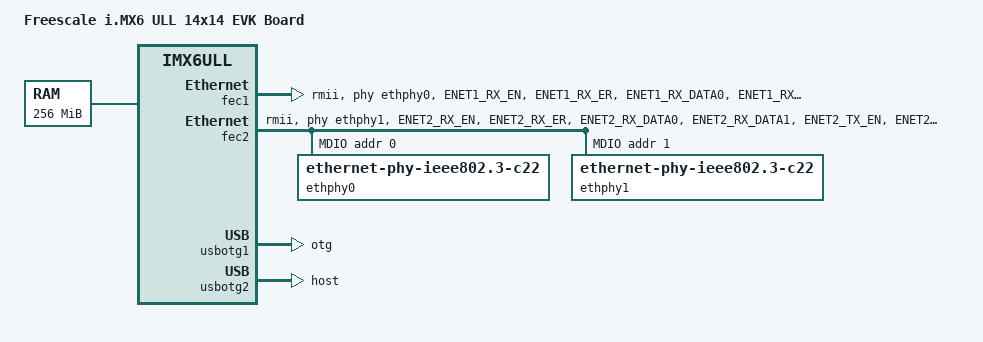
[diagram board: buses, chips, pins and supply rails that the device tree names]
// SPDX-License-Identifier: GPL-2.0
/*
 * Digi International's ConnectCore6UL SBC Pro board device tree source
 *
 * Copyright 2018 Digi International, Inc.
 *
 */

/dts-v1/;
#include <dt-bindings/input/input.h>
#include <dt-bindings/interrupt-controller/irq.h>
#include "imx6ul.dtsi"
#include "imx6ul-ccimx6ulsom.dtsi"

/ {
	model = "Freescale i.MX6 ULL 14x14 EVK Board";
	compatible = "fsl,imx6ull-14x14-evk", "fsl,imx6ull";

	chosen {
		stdout-path = &uart1;
	};

	memory {
		reg = <0x80000000 0x10000000>;
	};

	reserved-memory {
		#address-cells = <1>;
		#size-cells = <1>;
		ranges;

		linux,cma {
			compatible = "shared-dma-pool";
			reusable;
			size = <0x14000000>;
			linux,cma-default;
		};
	};

};

&fec1 {
	pinctrl-names = "default";
	pinctrl-0 = <&pinctrl_enet1>;
	phy-mode = "rmii";
	phy-handle = <&ethphy0>;
    phy-reset-gpios = <&gpio5 9 GPIO_ACTIVE_LOW>;
	phy-reset-duration = <100>;
	status = "okay";
};

&fec2 {
	pinctrl-names = "default";
	pinctrl-0 = <&pinctrl_enet2 &pinctrl_enet2_mdio>;
	phy-mode = "rmii";
	phy-handle = <&ethphy1>;
	phy-reset-gpios = <&gpio5 6 GPIO_ACTIVE_LOW>;
	phy-reset-duration = <100>;
	status = "okay";

	mdio {
		#address-cells = <1>;
		#size-cells = <0>;

		ethphy0: ethernet-phy@0 {
			compatible = "ethernet-phy-ieee802.3-c22";
			smsc,disable-energy-detect;
			reg = <0>;
		};

		ethphy1: ethernet-phy@1 {
			compatible = "ethernet-phy-ieee802.3-c22";
			smsc,disable-energy-detect;
			reg = <1>;
		};
	};
};

&usbotg1 {
	dr_mode = "otg";
	//vbus-supply = <&reg_usb_otg1_vbus>;
	status = "okay";
};

&usbotg2 {
	dr_mode = "host";
	disable-over-current;
	status = "okay";
};

&iomuxc {
	pinctrl_enet1: enet1grp {
		fsl,pins = <
			MX6UL_PAD_ENET1_RX_EN__ENET1_RX_EN	0x1b0b0
			MX6UL_PAD_ENET1_RX_ER__ENET1_RX_ER	0x1b0b0
			MX6UL_PAD_ENET1_RX_DATA0__ENET1_RDATA00	0x1b0b0
			MX6UL_PAD_ENET1_RX_DATA1__ENET1_RDATA01	0x1b0b0
			MX6UL_PAD_ENET1_TX_EN__ENET1_TX_EN	0x1b0b0
			MX6UL_PAD_ENET1_TX_DATA0__ENET1_TDATA00	0x1b0b0
			MX6UL_PAD_ENET1_TX_DATA1__ENET1_TDATA01	0x1b0b0
			MX6UL_PAD_ENET1_TX_CLK__ENET1_REF_CLK1	0x40017051
		>;
	};

	pinctrl_enet2: enet2grp {
		fsl,pins = <
			MX6UL_PAD_ENET2_RX_EN__ENET2_RX_EN	0x1b0b0
			MX6UL_PAD_ENET2_RX_ER__ENET2_RX_ER	0x1b0b0
			MX6UL_PAD_ENET2_RX_DATA0__ENET2_RDATA00	0x1b0b0
			MX6UL_PAD_ENET2_RX_DATA1__ENET2_RDATA01	0x1b0b0
			MX6UL_PAD_ENET2_TX_EN__ENET2_TX_EN	0x1b0b0
			MX6UL_PAD_ENET2_TX_DATA0__ENET2_TDATA00	0x1b0b0
			MX6UL_PAD_ENET2_TX_DATA1__ENET2_TDATA01	0x1b0b0
			MX6UL_PAD_ENET2_TX_CLK__ENET2_REF_CLK2	0x40017051
		>;
	};

	pinctrl_enet2_mdio: mdioenet2grp {
		fsl,pins = <
			MX6UL_PAD_GPIO1_IO07__ENET2_MDC		0x1b0b0
			MX6UL_PAD_GPIO1_IO06__ENET2_MDIO	0x1b0b0
		>;
	};
};
